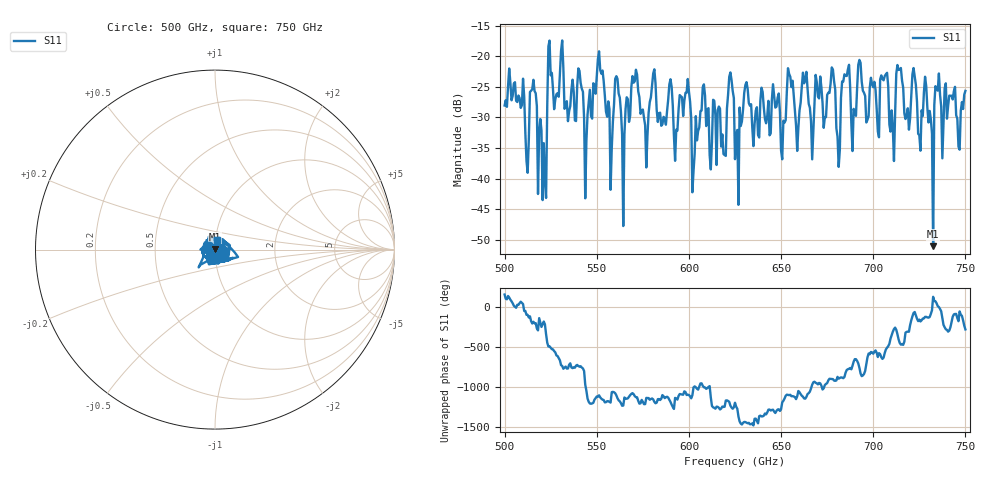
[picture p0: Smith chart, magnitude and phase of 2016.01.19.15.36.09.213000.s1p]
!Created with skrf (http://scikit-rf.org).
# GHz S RI R 50.0
!freq ReS11 ImS11
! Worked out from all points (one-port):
!   401 points, 500 GHz to 750 GHz, reference 50 ohm
!   lowest |S11| = -51.1 dB at 732.5 GHz (marker M1), VSWR 1.01, Z = 49.8 + j0.229 ohm
!   |S11| at or under -10 dB: start of sweep to end of sweep
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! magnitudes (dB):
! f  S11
! 500 GHz  -28.0
! 511.9 GHz  -37.1
! 515.6 GHz  -23.8
! 521.2 GHz  -34.2
! 524.4 GHz  -17.4
! 531.2 GHz  -17.4
! 544.4 GHz  -33.8
! 551.2 GHz  -19.2
! 556.9 GHz  -28.6
! 562.5 GHz  -26.8
! 593.8 GHz  -32.2
! 599.4 GHz  -23.7
! 603.1 GHz  -35.9
! 607.5 GHz  -25.1
! 618.8 GHz  -36.0
! 622.5 GHz  -22.6
! 625 GHz  -36.8
! 651.2 GHz  -30.5
! 656.2 GHz  -24.0
! 687.5 GHz  -25.2
! 706.2 GHz  -23.2
! 710 GHz  -28.8
! 713.8 GHz  -22.2
! 718.8 GHz  -28.5
! 721.9 GHz  -21.9
! 732.5 GHz  -51.1
! 735 GHz  -25.6
! 750 GHz  -25.7
